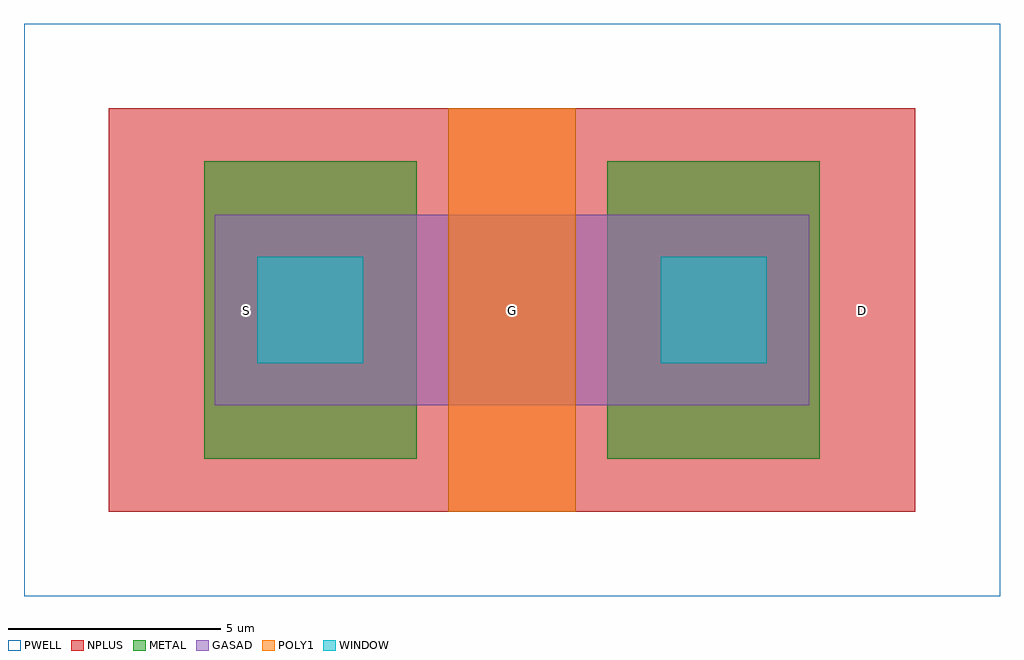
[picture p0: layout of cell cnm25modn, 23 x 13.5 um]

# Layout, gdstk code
import gdstk
lib = gdstk.Library(unit=1e-6, precision=1e-09)
def R(c, l, rs):  # rectangles x0, y0, x1, y1
    for r in rs: c.add(gdstk.rectangle(r[:2], r[2:], *l))
GASAD = (2, 0)
POLY1 = (4, 0)
NPLUS = (5, 0)
WINDOW = (6, 0)
METAL = (7, 0)
PWELL = (26, 0)

cnm25modn = lib.new_cell('cnm25modn')
R(cnm25modn, GASAD, [(-5.5,0,8.5,4.5)])
R(cnm25modn, POLY1, [(0,-2.5,3,7)])
R(cnm25modn, NPLUS, [(-8,-2.5,11,7)])
R(cnm25modn, WINDOW, [(-4.5,1,-2,3.5), (5,1,7.5,3.5)])
R(cnm25modn, METAL, [(-5.75,-1.25,-0.75,5.75), (3.75,-1.25,8.75,5.75)])
R(cnm25modn, PWELL, [(-10,-4.5,13,9)])
cnm25modn.add(gdstk.Label('G', (1.5,2.25), layer=20, texttype=0))
cnm25modn.add(gdstk.Label('S', (-4.75,2.25), layer=21, texttype=0))
cnm25modn.add(gdstk.Label('D', (9.75,2.25), layer=21, texttype=0))

lib.write_gds('cnm25modn.gds')
